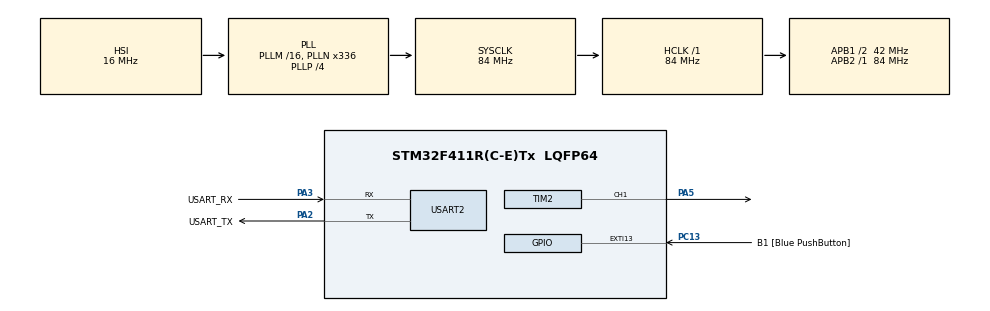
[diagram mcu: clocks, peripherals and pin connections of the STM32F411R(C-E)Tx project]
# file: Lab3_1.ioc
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Mcu.Family=STM32F4
Mcu.Name=STM32F411R(C-E)Tx
Mcu.Package=LQFP64
NVIC.EXTI15_10_IRQn=true\:2\:0\:true\:false\:true\:true\:true
NVIC.PriorityGroup=NVIC_PRIORITYGROUP_2
NVIC.TIM2_IRQn=true\:0\:0\:false\:false\:true\:true\:true
PA13.GPIO_Label=TMS
PA13.Mode=Serial_Wire
PA13.Signal=SYS_JTMS-SWDIO
PA14.GPIO_Label=TCK
PA14.Mode=Serial_Wire
PA14.Signal=SYS_JTCK-SWCLK
PA2.GPIO_Label=USART_TX
PA2.Mode=Asynchronous
PA2.Signal=USART2_TX
PA3.GPIO_Label=USART_RX
PA3.Mode=Asynchronous
PA3.Signal=USART2_RX
PA5.Signal=S_TIM2_CH1_ETR
PB3.GPIO_Label=SWO
PB3.Signal=SYS_JTDO-SWO
PC13-ANTI_TAMP.GPIO_Label=B1 [Blue PushButton]
PC13-ANTI_TAMP.GPIO_ModeDefaultEXTI=GPIO_MODE_IT_RISING
PC13-ANTI_TAMP.Signal=GPXTI13
PC14-OSC32_IN.Mode=LSE-External-Oscillator
PC14-OSC32_IN.Signal=RCC_OSC32_IN
PC15-OSC32_OUT.Mode=LSE-External-Oscillator
PC15-OSC32_OUT.Signal=RCC_OSC32_OUT
PH0\ -\ OSC_IN.Mode=HSE-External-Clock-Source
PH0\ -\ OSC_IN.Signal=RCC_OSC_IN
PH1\ -\ OSC_OUT.Mode=HSE-External-Clock-Source
PH1\ -\ OSC_OUT.Signal=RCC_OSC_OUT
ProjectManager.HeapSize=0x200
ProjectManager.StackSize=0x400
ProjectManager.TargetToolchain=STM32CubeIDE
RCC.48MHZClocksFreq_Value=84000000
RCC.AHBFreq_Value=84000000
RCC.APB1CLKDivider=RCC_HCLK_DIV2
RCC.APB1Freq_Value=42000000
RCC.APB1TimFreq_Value=84000000
RCC.APB2Freq_Value=84000000
RCC.APB2TimFreq_Value=84000000
RCC.CortexFreq_Value=84000000
RCC.FLatency-AdvancedSettings=FLASH_LATENCY_2
RCC.HCLKFreq_Value=84000000
RCC.HSE_VALUE=8000000
RCC.HSI_VALUE=16000000
RCC.PLLN=336
RCC.PLLP=RCC_PLLP_DIV4
RCC.SYSCLKFreq_VALUE=84000000
RCC.SYSCLKSource=RCC_SYSCLKSOURCE_PLLCLK
RCC.VCOOutputFreq_Value=336000000
SH.S_TIM2_CH1_ETR.0=TIM2_CH1,PWM Generation1 CH1
TIM2.AutoReloadPreload=TIM_AUTORELOAD_PRELOAD_ENABLE
TIM2.Channel-PWM\ Generation1\ CH1=TIM_CHANNEL_1
TIM2.Period=199999
TIM2.Prescaler=83
TIM2.Pulse-PWM\ Generation1\ CH1=99999
USART2.VirtualMode=VM_ASYNC
VP_TIM2_VS_ClockSourceINT.Mode=Internal
board=NUCLEO-F411RE

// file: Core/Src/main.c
/* USER CODE BEGIN Header */
/**
  ******************************************************************************
  * @file           : main.c
  * @brief          : Main program body
  ******************************************************************************
  * @attention
  *
  * Copyright (c) 2022 STMicroelectronics.
  * All rights reserved.
  *
  * This software is licensed under terms that can be found in the LICENSE file
  * in the root directory of this software component.
  * If no LICENSE file comes with this software, it is provided AS-IS.
  *
  ******************************************************************************
  */
/* USER CODE END Header */
#include "main.h"

TIM_HandleTypeDef htim2;

UART_HandleTypeDef huart2;

void SystemClock_Config(void);
static void MX_GPIO_Init(void);
static void MX_USART2_UART_Init(void);
static void MX_TIM2_Init(void);

/* USER CODE BEGIN 0 */
int state = 0;
void HAL_GPIO_EXTI_Callback(uint16_t GPIO_Pin) {
	if(HAL_GPIO_ReadPin(GPIOC, GPIO_PIN_13)){
		state = (state +1) % 3;
		HAL_Delay(15);
	}
	HAL_TIM_PWM_Init(&htim2);
	__HAL_GPIO_EXTI_CLEAR_IT(GPIO_Pin);
}

/* USER CODE END 0 */

int main(void)
{

  /* MCU Configuration--------------------------------------------------------*/

  /* Reset of all peripherals, Initializes the Flash interface and the Systick. */
  HAL_Init();

  /* Configure the system clock */
  SystemClock_Config();

  /* Initialize all configured peripherals */
  MX_GPIO_Init();
  MX_USART2_UART_Init();
  MX_TIM2_Init();
  /* USER CODE BEGIN 2 */
  HAL_TIM_PWM_Start(&htim2,
  TIM_CHANNEL_1);
  HAL_TIM_PWM_Init(&htim2);
  /* USER CODE END 2 */

  /* Infinite loop */
  /* USER CODE BEGIN WHILE */
  while (1)
  {
	  switch(state){
	  case 0:
		  TIM2->ARR = 199999;
		  TIM2->CCR1 = 99999;
		  break;
	  case 1:
		  TIM2->ARR = 999999;
		  TIM2->CCR1 = 499999;
		  break;
	  case 2:
		  TIM2->ARR = 4999999;
		  TIM2->CCR1 = 2499999;
		  break;
	  default:
		  break;
	  }
    /* USER CODE END WHILE */

  }
}

void SystemClock_Config(void)
{
  RCC_OscInitTypeDef RCC_OscInitStruct = {0};
  RCC_ClkInitTypeDef RCC_ClkInitStruct = {0};

  /** Configure the main internal regulator output voltage
  */
  __HAL_RCC_PWR_CLK_ENABLE();
  __HAL_PWR_VOLTAGESCALING_CONFIG(PWR_REGULATOR_VOLTAGE_SCALE1);
  /** Initializes the RCC Oscillators according to the specified parameters
  * in the RCC_OscInitTypeDef structure.
  */
  RCC_OscInitStruct.OscillatorType = RCC_OSCILLATORTYPE_HSI;
  RCC_OscInitStruct.HSIState = RCC_HSI_ON;
  RCC_OscInitStruct.HSICalibrationValue = RCC_HSICALIBRATION_DEFAULT;
  RCC_OscInitStruct.PLL.PLLState = RCC_PLL_ON;
  RCC_OscInitStruct.PLL.PLLSource = RCC_PLLSOURCE_HSI;
  RCC_OscInitStruct.PLL.PLLM = 16;
  RCC_OscInitStruct.PLL.PLLN = 336;
  RCC_OscInitStruct.PLL.PLLP = RCC_PLLP_DIV4;
  RCC_OscInitStruct.PLL.PLLQ = 4;
  if (HAL_RCC_OscConfig(&RCC_OscInitStruct) != HAL_OK)
  {
    Error_Handler();
  }
  /** Initializes the CPU, AHB and APB buses clocks
  */
  RCC_ClkInitStruct.ClockType = RCC_CLOCKTYPE_HCLK|RCC_CLOCKTYPE_SYSCLK
                              |RCC_CLOCKTYPE_PCLK1|RCC_CLOCKTYPE_PCLK2;
  RCC_ClkInitStruct.SYSCLKSource = RCC_SYSCLKSOURCE_PLLCLK;
  RCC_ClkInitStruct.AHBCLKDivider = RCC_SYSCLK_DIV1;
  RCC_ClkInitStruct.APB1CLKDivider = RCC_HCLK_DIV2;
  RCC_ClkInitStruct.APB2CLKDivider = RCC_HCLK_DIV1;

  if (HAL_RCC_ClockConfig(&RCC_ClkInitStruct, FLASH_LATENCY_2) != HAL_OK)
  {
    Error_Handler();
  }
}

static void MX_TIM2_Init(void)
{

  TIM_ClockConfigTypeDef sClockSourceConfig = {0};
  TIM_MasterConfigTypeDef sMasterConfig = {0};
  TIM_OC_InitTypeDef sConfigOC = {0};

  htim2.Instance = TIM2;
  htim2.Init.Prescaler = 83;
  htim2.Init.CounterMode = TIM_COUNTERMODE_UP;
  htim2.Init.Period = 199999;
  htim2.Init.ClockDivision = TIM_CLOCKDIVISION_DIV1;
  htim2.Init.AutoReloadPreload = TIM_AUTORELOAD_PRELOAD_ENABLE;
  if (HAL_TIM_Base_Init(&htim2) != HAL_OK)
  {
    Error_Handler();
  }
  sClockSourceConfig.ClockSource = TIM_CLOCKSOURCE_INTERNAL;
  if (HAL_TIM_ConfigClockSource(&htim2, &sClockSourceConfig) != HAL_OK)
  {
    Error_Handler();
  }
  if (HAL_TIM_PWM_Init(&htim2) != HAL_OK)
  {
    Error_Handler();
  }
  sMasterConfig.MasterOutputTrigger = TIM_TRGO_RESET;
  sMasterConfig.MasterSlaveMode = TIM_MASTERSLAVEMODE_DISABLE;
  if (HAL_TIMEx_MasterConfigSynchronization(&htim2, &sMasterConfig) != HAL_OK)
  {
    Error_Handler();
  }
  sConfigOC.OCMode = TIM_OCMODE_PWM1;
  sConfigOC.Pulse = 99999;
  sConfigOC.OCPolarity = TIM_OCPOLARITY_HIGH;
  sConfigOC.OCFastMode = TIM_OCFAST_DISABLE;
  if (HAL_TIM_PWM_ConfigChannel(&htim2, &sConfigOC, TIM_CHANNEL_1) != HAL_OK)
  {
    Error_Handler();
  }
  HAL_TIM_MspPostInit(&htim2);

}

static void MX_USART2_UART_Init(void)
{

  huart2.Instance = USART2;
  huart2.Init.BaudRate = 115200;
  huart2.Init.WordLength = UART_WORDLENGTH_8B;
  huart2.Init.StopBits = UART_STOPBITS_1;
  huart2.Init.Parity = UART_PARITY_NONE;
  huart2.Init.Mode = UART_MODE_TX_RX;
  huart2.Init.HwFlowCtl = UART_HWCONTROL_NONE;
  huart2.Init.OverSampling = UART_OVERSAMPLING_16;
  if (HAL_UART_Init(&huart2) != HAL_OK)
  {
    Error_Handler();
  }

}

static void MX_GPIO_Init(void)
{
  GPIO_InitTypeDef GPIO_InitStruct = {0};

  /* GPIO Ports Clock Enable */
  __HAL_RCC_GPIOC_CLK_ENABLE();
  __HAL_RCC_GPIOH_CLK_ENABLE();
  __HAL_RCC_GPIOA_CLK_ENABLE();
  __HAL_RCC_GPIOB_CLK_ENABLE();

  /*Configure GPIO pin : B1_Pin */
  GPIO_InitStruct.Pin = B1_Pin;
  GPIO_InitStruct.Mode = GPIO_MODE_IT_RISING;
  GPIO_InitStruct.Pull = GPIO_NOPULL;
  HAL_GPIO_Init(B1_GPIO_Port, &GPIO_InitStruct);

  /* EXTI interrupt init*/
  HAL_NVIC_SetPriority(EXTI15_10_IRQn, 2, 0);
  HAL_NVIC_EnableIRQ(EXTI15_10_IRQn);

}

void Error_Handler(void)
{
  __disable_irq();
  while (1)
  {
  }
}
